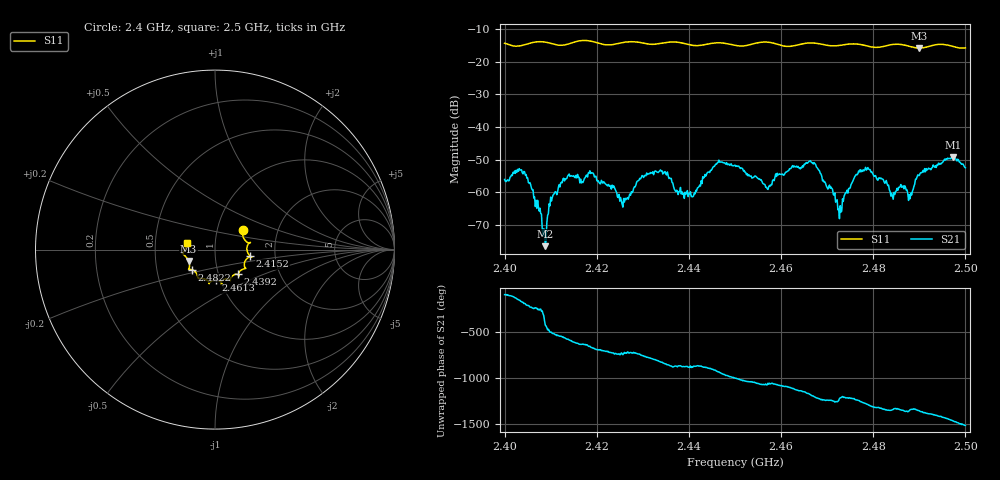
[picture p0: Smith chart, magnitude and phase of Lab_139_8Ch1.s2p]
# Hz S RI R 50
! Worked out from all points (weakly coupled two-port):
!   601 points, 2.4 GHz to 2.5 GHz, reference 50 ohm
!   highest |S21| = -49.22 dB at 2.4973 GHz (marker M1); lowest = -76.5 dB at 2.4088 GHz (marker M2)
!   lowest |S11| = -15.9 dB at 2.49 GHz (marker M3), VSWR 1.38, Z = 36.9 - j4.83 ohm
!   |S11| at or under -10 dB: start of sweep to end of sweep
!   S12 and S22 are empty: the file has one direction only
!   S11 on the Smith chart (normalised r, x): 2.4 GHz: 1.33, +0.30; 2.4152 GHz: 1.48, -0.11; 2.4392 GHz: 1.23, -0.35; 2.4613 GHz: 0.96, -0.34; 2.4822 GHz: 0.76, -0.17; 2.5 GHz: 0.73, +0.05
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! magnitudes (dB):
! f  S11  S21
! 2.4 GHz  -14.4  -56.1
! 2.4042 GHz  -14.9  -53.6
! 2.4088 GHz  -14.0  -76.5
! 2.4105 GHz  -14.6  -60.9
! 2.4152 GHz  -14.0  -55.4
! 2.4167 GHz  -13.6  -57.1
! 2.4188 GHz  -13.8  -54.0
! 2.4258 GHz  -14.1  -61.9
! 2.4333 GHz  -14.6  -54.0
! 2.4392 GHz  -14.6  -60.0
! 2.45 GHz  -15.0  -51.7
! 2.4572 GHz  -14.1  -59.2
! 2.4613 GHz  -15.4  -53.6
! 2.4667 GHz  -14.3  -50.9
! 2.4727 GHz  -15.1  -68.1
! 2.4773 GHz  -14.8  -53.8
! 2.4822 GHz  -15.4  -56.1
! 2.4833 GHz  -15.0  -57.8
! 2.488 GHz  -15.4  -62.0
! 2.49 GHz  -15.9  -54.9
! 2.4973 GHz  -15.4  -49.2
! 2.5 GHz  -15.8  -52.5
